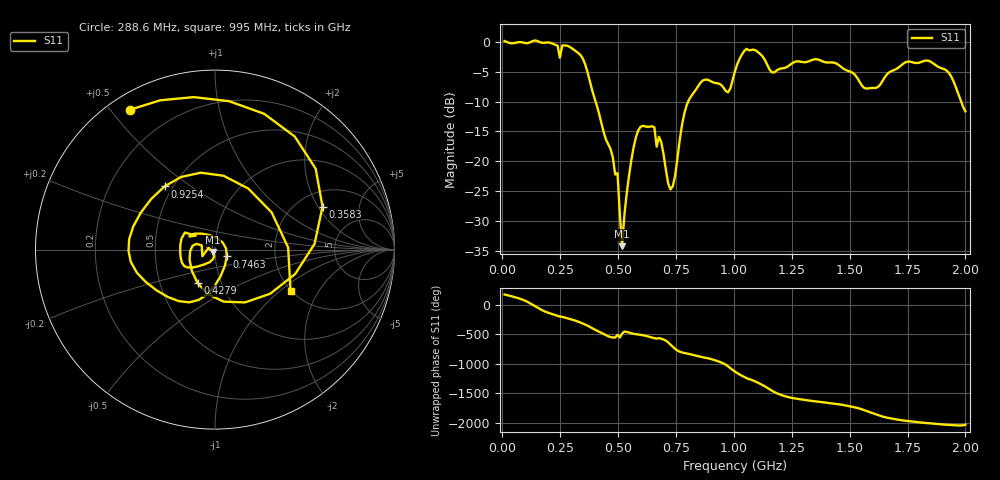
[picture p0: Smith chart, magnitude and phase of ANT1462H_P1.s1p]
!Created with skrf (http://scikit-rf.org).
# Hz S RI R 50.0
!freq ReS11 ImS11
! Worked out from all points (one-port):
!   201 points, 10 MHz to 2 GHz, reference 50 ohm
!   lowest |S11| = -34.2 dB at 517.5 MHz (marker M1), VSWR 1.04, Z = 48.7 - j1.46 ohm
!   |S11| at or under -10 dB: 402.9 MHz to 802.9 MHz (400.1 MHz wide, 66.4 % of centre); 1.981 GHz to end of sweep
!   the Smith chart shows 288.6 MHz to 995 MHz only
!   S11 on the Smith chart (normalised r, x): 288.6 MHz: 0.06, +0.56; 358.2 MHz: 2.68, +2.19; 427.9 MHz: 0.77, -0.30; 746.3 MHz: 1.14, -0.09; 925.4 MHz: 0.45, +0.40; 995 MHz: 1.99, -1.18
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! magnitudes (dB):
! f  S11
! 10 MHz  0.1
! 209 MHz  -0.2
! 248.8 MHz  -2.7
! 258.8 MHz  -0.7
! 288.6 MHz  -0.8
! 358.2 MHz  -3.8
! 427.9 MHz  -13.6
! 497.6 MHz  -22.0
! 507.5 MHz  -28.7
! 517.5 MHz  -34.2
! 557.2 MHz  -19.8
! 597 MHz  -14.2
! 676.6 MHz  -15.9
! 726.4 MHz  -24.7
! 746.3 MHz  -22.4
! 756.2 MHz  -19.5
! 806 MHz  -9.7
! 925.4 MHz  -6.9
! 995 MHz  -6.4
! 1.005 GHz  -4.9
! 1.055 GHz  -1.2
! 1.164 GHz  -5.1
! 1.254 GHz  -3.6
! 1.502 GHz  -5.0
! 1.612 GHz  -7.7
! 1.751 GHz  -3.3
! 1.92 GHz  -4.9
! 2 GHz  -11.6
